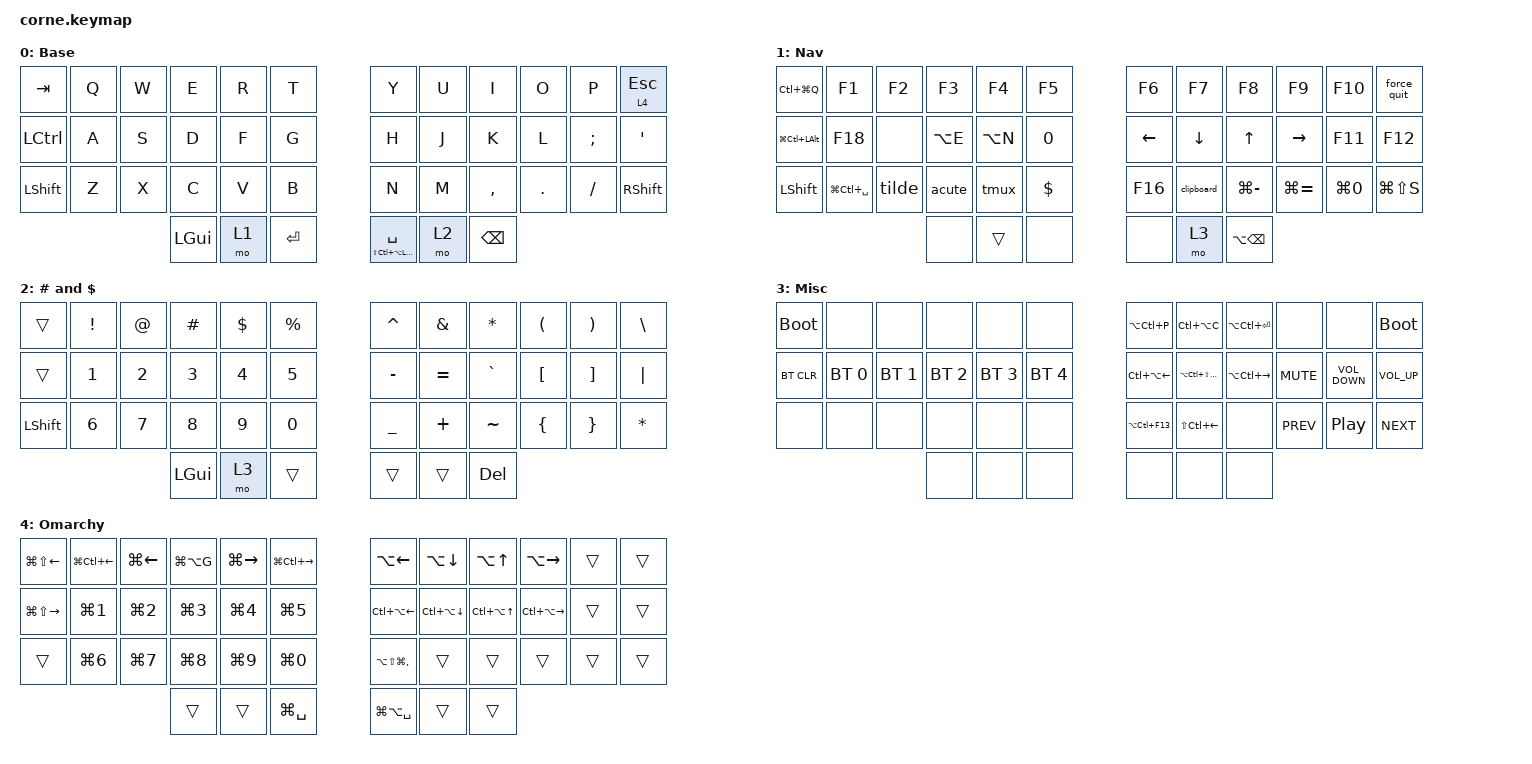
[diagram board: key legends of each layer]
/*
 * Copyright (c) 2020 The ZMK Contributors
 *
 * SPDX-License-Identifier: MIT
 */

#include <behaviors.dtsi>
#include <dt-bindings/zmk/bt.h>
#include <dt-bindings/zmk/keys.h>

/ {
    macros {
        panesplit_v: split_vertically {
            compatible = "zmk,behavior-macro";
            #binding-cells = <0>;
            bindings = <&kp LC(SPACE) &kp LS(BSLH)>;
            label = "SPLIT_VERTICALLY";
        };

        panesplit_h: split_horizontally {
            compatible = "zmk,behavior-macro";
            #binding-cells = <0>;
            bindings = <&kp LC(SPACE) &kp MINUS>;
            label = "SPLIT_HORIZONTALLY";
        };

        pane_close: close_pane {
            compatible = "zmk,behavior-macro";
            #binding-cells = <0>;
            bindings = <&kp LC(SPACE) &kp X>;
            label = "CLOSE_PANE";
        };

        tmux: goto_pane_1 {
            compatible = "zmk,behavior-macro";
            #binding-cells = <0>;
            bindings = <&kp LC(SPACE)>;
            label = "GOTO_PANE_1";
        };

        clipboard: clipboard {
            compatible = "zmk,behavior-macro";
            #binding-cells = <0>;
            bindings =
                <&macro_tap>,
                <&kp ESC>,
                <&macro_wait_time 100>,
                <&kp LG(SPACE)>,
                <&macro_wait_time 450>,
                <&kp LG(NUMBER_4)>,
                <&macro_press>;

            label = "CLIPBOARD";
        };

        resize_left: resize_left {
            compatible = "zmk,behavior-macro";
            #binding-cells = <0>;
            bindings = <&kp LC(SPACE) &kp H>;
            label = "RESIZE_LEFT";
        };

        resize_down: resize_down {
            compatible = "zmk,behavior-macro";
            #binding-cells = <0>;
            bindings = <&kp LC(SPACE) &kp J>;
            label = "RESIZE_DOWN";
        };

        resize_up: resize_up {
            compatible = "zmk,behavior-macro";
            #binding-cells = <0>;
            bindings = <&kp LC(SPACE) &kp K>;
            label = "RESIZE_UP";
        };

        resize_right: resize_right {
            compatible = "zmk,behavior-macro";
            #binding-cells = <0>;
            bindings = <&kp LC(SPACE) &kp L>;
            label = "RESIZE_RIGHT";
        };

        max_pane: max_pane {
            compatible = "zmk,behavior-macro";
            #binding-cells = <0>;
            bindings = <&kp LC(SPACE) &kp M>;
            label = "MAX_PANE";
        };

        force_quit: force_quit {
            compatible = "zmk,behavior-macro";
            #binding-cells = <0>;
            bindings = <&kp LG(LA(ESCAPE))>;
            label = "FORCE_QUIT";
        };

        tilde: tilde {
            compatible = "zmk,behavior-macro";
            #binding-cells = <0>;
            bindings = <&kp CLCK &kp TILDE>;
            label = "TILDE";
        };

        acute: acute {
            compatible = "zmk,behavior-macro";
            #binding-cells = <0>;
            bindings = <&kp CLCK &kp SQT>;
            label = "ACUTE";
        };

        Super_Ctrl_Alt: Super_Ctrl_Alt {
            compatible = "zmk,behavior-macro";
            #binding-cells = <0>;
            bindings = <&kp LEFT_GUI &kp LCTRL &kp LEFT_ALT>;
            label = "SUPER_CTRL_ALT";
        };
    };

    behaviors {
        hyper_space: hyper_space {
            compatible = "zmk,behavior-hold-tap";
            #binding-cells = <2>;
            tapping-term-ms = <300>;
            quick-tap-ms = <175>;
            require-prior-idle-ms = <150>;
            flavor = "tap-preferred";
            bindings = <&kp>, <&kp>;
        };

        move_to_workspace: move_to_workspace {
            compatible = "zmk,behavior-hold-tap";
            label = "MOVE_TO_WORKSPACE";
            bindings = <&mo>, <&kp>;

            #binding-cells = <2>;
            hold-trigger-key-positions = <11 13 16 15 14 26 27 28 29 17 25 24 1 2 3 4 5 12 0 39 38 30 18 20 21 19 9 8 7 6>;
            tapping-term-ms = <200>;
            require-prior-idle-ms = <150>;
            flavor = "balanced";
        };
    };

    combos {
        compatible = "zmk,combos";

        caps {
            bindings = <&mo 0>;
            key-positions = <41 40>;
        };

        left_parenthesis {
            bindings = <&kp LEFT_PARENTHESIS>;
            key-positions = <5 4>;
        };

        right_parenthesis {
            bindings = <&kp RIGHT_PARENTHESIS>;
            key-positions = <6 7>;
        };

        left_bracket1 {
            bindings = <&kp LEFT_BRACKET>;
            key-positions = <16 17>;
        };

        right_bracket1 {
            bindings = <&kp RIGHT_BRACKET>;
            key-positions = <18 19>;
        };

        left_brace {
            bindings = <&kp LEFT_BRACE>;
            key-positions = <29 28>;
        };

        right_brace {
            bindings = <&kp RIGHT_BRACE>;
            key-positions = <30 31>;
        };
    };

    keymap {
        compatible = "zmk,keymap";

        base {
            display-name = "Base";

            // -----------------------------------------------------------------------------------------
            // |  TAB |  Q  |  W  |  E  |  R  |  T  |   |  Y  |  U   |  I  |  O  |  P  | BSPC |
            // | CTRL |  A  |  S  |  D  |  F  |  G  |   |  H  |  J   |  K  |  L  |  ;  |  '   |
            // | SHFT |  Z  |  X  |  C  |  V  |  B  |   |  N  |  M   |  ,  |  .  |  /  | ESC  |
            //                    | GUI | LWR | SPC |   | ENT | RSE  | ALT |

            bindings = <
&kp TAB         &kp Q  &kp W  &kp E     &kp R  &kp T        &kp Y                                &kp U  &kp I          &kp O    &kp P     &move_to_workspace 4 ESC
&kp LCTRL       &kp A  &kp S  &kp D     &kp F  &kp G        &kp H                                &kp J  &kp K          &kp L    &kp SEMI  &kp SQT
&kp LEFT_SHIFT  &kp Z  &kp X  &kp C     &kp V  &kp B        &kp N                                &kp M  &kp COMMA      &kp DOT  &kp FSLH  &kp RIGHT_SHIFT
                              &kp LGUI  &mo 1  &kp ENTER    &hyper_space LS(LC(LA(LGUI))) SPACE  &mo 2  &kp BACKSPACE
            >;
        };

        lower {
            bindings = <
&kp LC(LG(Q))         &kp F1             &kp F2  &kp F3     &kp F4     &kp F5        &kp F6    &kp F7      &kp F8             &kp F9         &kp F10     &force_quit
&kp LG(LC(LEFT_ALT))  &kp F18            &none   &kp LA(E)  &kp LA(N)  &kp N0        &kp LEFT  &kp DOWN    &kp UP_ARROW       &kp RIGHT      &kp F11     &kp F12
&kp LEFT_SHIFT        &kp LG(LC(SPACE))  &tilde  &acute     &tmux      &kp DOLLAR    &kp F16   &clipboard  &kp LG(MINUS)      &kp LG(EQUAL)  &kp LG(N0)  &kp LG(LS(S))
                                                 &none      &trans     &none         &none     &mo 3       &kp LA(BACKSPACE)
            >;

            label = "Nav";
        };

        raise {
            display-name = "# and $";
            bindings = <
&trans          &kp EXCLAMATION  &kp AT_SIGN   &kp HASH      &kp DOLLAR    &kp PERCENT     &kp CARET       &kp AMPERSAND  &kp ASTRK   &kp LPAR  &kp RPAR  &kp BACKSLASH
&trans          &kp NUMBER_1     &kp NUMBER_2  &kp NUMBER_3  &kp NUMBER_4  &kp NUMBER_5    &kp MINUS       &kp EQUAL      &kp GRAVE   &kp LBKT  &kp RBKT  &kp PIPE
&kp LEFT_SHIFT  &kp NUMBER_6     &kp NUMBER_7  &kp NUMBER_8  &kp NUMBER_9  &kp NUMBER_0    &kp UNDERSCORE  &kp PLUS       &kp TILDE   &kp LBRC  &kp RBRC  &kp ASTERISK
                                               &kp LGUI      &mo 3         &trans          &trans          &trans         &kp DELETE
            >;
        };

        Miscelaneous {
            bindings = <
&bootloader  &none         &none         &none         &none         &none           &kp LA(LC(P))           &kp LC(LA(C))            &kp LA(LC(ENTER))  &none       &none              &bootloader
&bt BT_CLR   &bt BT_SEL 0  &bt BT_SEL 1  &bt BT_SEL 2  &bt BT_SEL 3  &bt BT_SEL 4    &kp LC(LA(LEFT_ARROW))  &kp LA(LC(LS(LG(F14))))  &kp LA(LC(RIGHT))  &kp K_MUTE  &kp C_VOLUME_DOWN  &kp C_VOLUME_UP
&none        &none         &none         &none         &none         &none           &kp LA(LC(F13))         &kp LS(LC(LEFT))         &none              &kp C_PREV  &kp C_PLAY_PAUSE   &kp C_NEXT
                                         &none         &none         &none           &none                   &none                    &none
            >;

            label = "Misc";
        };

        Omarchy {
            bindings = <
&kp LG(LS(LEFT))   &kp LG(LC(LEFT_ARROW))  &kp LG(LEFT_ARROW)  &kp LG(LA(G))  &kp LG(RIGHT)  &kp LG(LC(RIGHT))    &kp LA(LEFT)           &kp LA(DOWN)      &kp LA(UP)      &kp LA(RIGHT)      &trans  &trans
&kp LG(LS(RIGHT))  &kp LG(N1)              &kp LG(N2)          &kp LG(N3)     &kp LG(N4)     &kp LG(N5)           &kp LC(LA(LEFT))       &kp LC(LA(DOWN))  &kp LC(LA(UP))  &kp LC(LA(RIGHT))  &trans  &trans
&trans             &kp LG(N6)              &kp LG(N7)          &kp LG(N8)     &kp LG(N9)     &kp LG(N0)           &kp LA(LS(LG(COMMA)))  &trans            &trans          &trans             &trans  &trans
                                                               &trans         &trans         &kp LG(SPACE)        &kp LG(LA(SPACE))      &trans            &trans
            >;

            label = "Omarchy";
        };
    };
};
